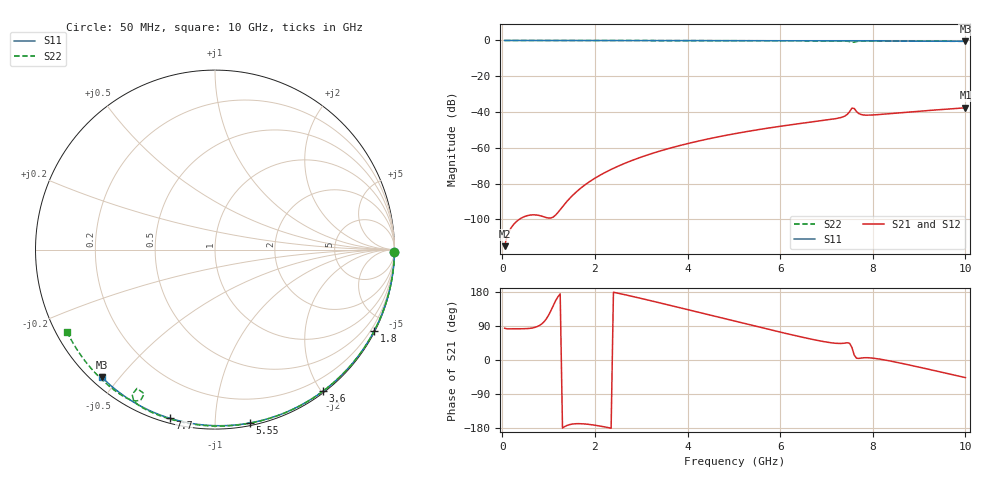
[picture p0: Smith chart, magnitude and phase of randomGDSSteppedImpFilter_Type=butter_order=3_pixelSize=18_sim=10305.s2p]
! freq	dB(S11)	phase(S11)	dB(S12)	phase(S12)
!  dB(S21)	phase(S21)	dB(S22)	phase(S22)
!S-par simulation data
#  GHz  S  DB  R 50
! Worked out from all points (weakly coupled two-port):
!   200 points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, 50 MHz to 10 GHz, reference 50 ohm
!   highest |S21| = -37.63 dB at 10 GHz (marker M1); lowest = -114.9 dB at 50 MHz (marker M2)
!   lowest |S11| = -0.4 dB at 10 GHz (marker M3), VSWR 39.22, Z = 1.53 - j22.5 ohm
!   |S11| at or under -10 dB: nowhere
!   |S22| runs from -1.0 to 0.0 dB; largest |S21 - S12| = 0
!   S11 on the Smith chart (normalised r, x): 50 MHz: open; 1.8 GHz: 0.04, -4.17; 3.6 GHz: 0.02, -2.02; 5.55 GHz: 0.02, -1.22; 7.7 GHz: 0.02, -0.77; 10 GHz: 0.03, -0.45
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0.05  -0.00 -0.8  -114.93 83.8  -114.93 83.8  -0.00 -0.9
0.9  -0.02 -13.6  -98.55 100.6  -98.55 100.6  -0.02 -15.6
1.75  -0.03 -26.2  -81.37 -168.5  -81.37 -168.5  -0.04 -30.0
1.8  -0.03 -26.9  -80.41 -169.0  -80.41 -169.0  -0.04 -30.9
2.2  -0.04 -32.8  -74.02 -176.3  -74.02 -176.3  -0.05 -37.5
2.55  -0.05 -37.8  -69.68 174.9  -69.68 174.9  -0.06 -43.3
2.95  -0.06 -43.6  -65.61 163.9  -65.61 163.9  -0.06 -49.8
3.4  -0.07 -49.9  -61.81 150.8  -61.81 150.8  -0.08 -57.0
3.6  -0.07 -52.7  -60.32 144.9  -60.32 144.9  -0.08 -60.2
4.3  -0.09 -62.3  -55.83 124.0  -55.83 124.0  -0.10 -71.1
5.05  -0.11 -72.2  -51.94 101.5  -51.94 101.5  -0.13 -82.4
5.55  -0.13 -78.7  -49.74 86.7  -49.74 86.7  -0.15 -89.7
6.7  -0.18 -93.1  -45.49 54.3  -45.49 54.3  -0.21 -106.3
7.35  -0.22 -100.9  -42.76 43.9  -42.76 43.9  -0.31 -116.4
7.45  -0.22 -102.1  -41.30 45.4  -41.30 45.4  -0.43 -118.6
7.55  -0.23 -103.3  -37.82 33.0  -37.82 33.0  -1.04 -119.3
7.6  -0.23 -103.9  -38.00 12.8  -38.00 12.8  -0.97 -116.1
7.7  -0.24 -105.1  -40.85 4.2  -40.85 4.2  -0.44 -117.5
7.8  -0.24 -106.2  -41.63 5.8  -41.63 5.8  -0.34 -119.6
7.9  -0.25 -107.4  -41.73 6.0  -41.73 6.0  -0.32 -121.3
8.35  -0.29 -112.7  -40.94 -2.0  -40.94 -2.0  -0.34 -128.0
10  -0.44 -131.4  -37.63 -46.4  -37.63 -46.4  -0.51 -150.8
